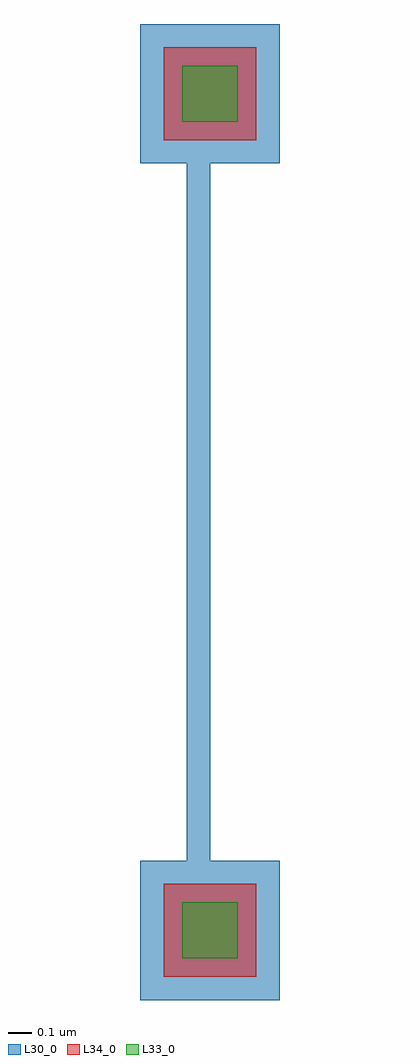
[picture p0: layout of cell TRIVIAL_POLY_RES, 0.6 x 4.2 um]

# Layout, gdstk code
import gdstk
lib = gdstk.Library(unit=1e-6, precision=1e-09)
def R(c, l, rs):  # rectangles x0, y0, x1, y1
    for r in rs: c.add(gdstk.rectangle(r[:2], r[2:], *l))
L30_0 = (30, 0)
L33_0 = (33, 0)
L34_0 = (34, 0)

trivial_poly_res = lib.new_cell('TRIVIAL_POLY_RES')
R(trivial_poly_res, L30_0, [(0.9,-0.6,1.5,0), (1.1,0,1.2,3), (0.9,3,1.5,3.6)])
R(trivial_poly_res, L33_0, [(1.08,-0.42,1.32,-0.18), (1.08,3.18,1.32,3.42)])
R(trivial_poly_res, L34_0, [(1,-0.5,1.4,-0.1), (1,3.1,1.4,3.5)])

lib.write_gds('TRIVIAL_POLY_RES.gds')
